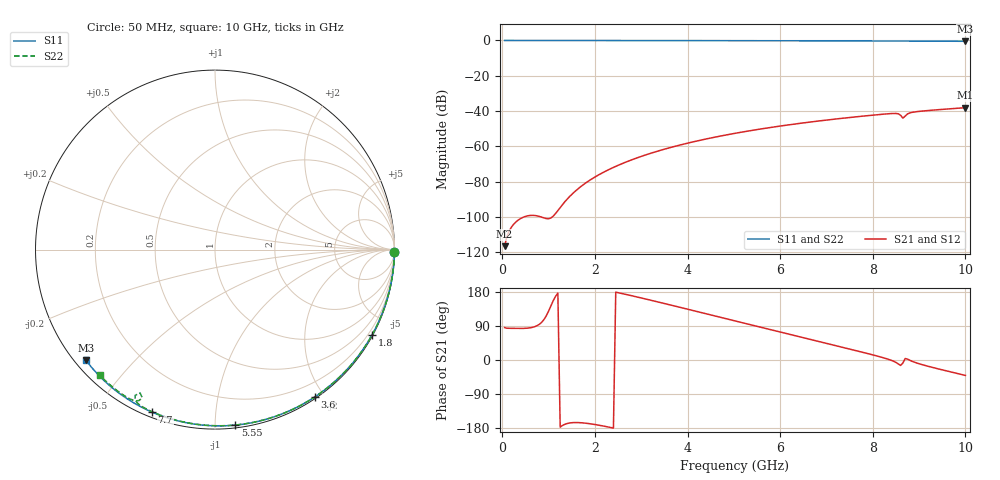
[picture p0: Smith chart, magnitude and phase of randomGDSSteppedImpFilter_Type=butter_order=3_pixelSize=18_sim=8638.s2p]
! freq	dB(S11)	phase(S11)	dB(S12)	phase(S12)
!  dB(S21)	phase(S21)	dB(S22)	phase(S22)
!S-par simulation data
#  GHz  S  DB  R 50
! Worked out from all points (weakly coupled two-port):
!   200 points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, 50 MHz to 10 GHz, reference 50 ohm
!   highest |S21| = -38.11 dB at 10 GHz (marker M1); lowest = -116.6 dB at 50 MHz (marker M2)
!   lowest |S11| = -0.5 dB at 10 GHz (marker M3), VSWR 36.91, Z = 1.54 - j18.5 ohm
!   |S11| at or under -10 dB: nowhere
!   |S22| runs from -0.9 to 0.0 dB; largest |S21 - S12| = 0
!   S11 on the Smith chart (normalised r, x): 50 MHz: open; 1.8 GHz: 0.03, -3.92; 3.6 GHz: 0.02, -1.88; 5.55 GHz: 0.02, -1.12; 7.7 GHz: 0.02, -0.68; 10 GHz: 0.03, -0.37
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0.05  -0.00 -0.8  -116.63 85.5  -116.63 85.5  -0.00 -0.8
0.9  -0.02 -14.5  -100.64 106.8  -100.64 106.8  -0.02 -13.7
1.75  -0.04 -27.9  -81.76 -166.1  -81.76 -166.1  -0.03 -26.5
1.8  -0.04 -28.6  -80.81 -166.7  -80.81 -166.7  -0.03 -27.2
1.85  -0.04 -29.4  -79.92 -167.5  -79.92 -167.5  -0.04 -28.0
2.15  -0.04 -34.1  -75.21 -173.5  -75.21 -173.5  -0.04 -32.4
2.55  -0.05 -40.2  -70.23 176.4  -70.23 176.4  -0.05 -38.2
2.95  -0.06 -46.3  -66.19 165.2  -66.19 165.2  -0.06 -44.0
3.4  -0.07 -53.0  -62.40 152.1  -62.40 152.1  -0.07 -50.4
3.6  -0.08 -55.9  -60.92 146.1  -60.92 146.1  -0.07 -53.2
4.3  -0.09 -66.0  -56.43 125.1  -56.43 125.1  -0.09 -62.9
5.05  -0.12 -76.5  -52.53 102.4  -52.53 102.4  -0.11 -72.9
5.55  -0.14 -83.4  -50.31 87.3  -50.31 87.3  -0.13 -79.5
6.7  -0.19 -98.5  -46.08 52.8  -46.08 52.8  -0.18 -94.1
7.7  -0.25 -111.2  -43.13 22.8  -43.13 22.8  -0.24 -106.3
8.35  -0.31 -119.2  -41.53 1.3  -41.53 1.3  -0.31 -114.6
8.55  -0.32 -121.7  -41.58 -10.2  -41.58 -10.2  -0.46 -118.0
8.6  -0.33 -122.3  -42.39 -14.3  -42.39 -14.3  -0.66 -118.7
8.65  -0.33 -122.9  -44.04 -8.1  -44.04 -8.1  -0.91 -117.6
8.75  -0.34 -124.1  -41.65 2.4  -41.65 2.4  -0.53 -116.7
8.85  -0.35 -125.4  -40.76 -3.5  -40.76 -3.5  -0.40 -118.4
10  -0.47 -139.3  -38.11 -40.7  -38.11 -40.7  -0.45 -132.6
